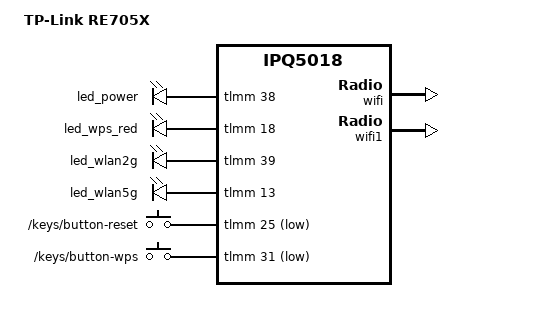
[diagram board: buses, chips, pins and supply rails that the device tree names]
// SPDX-License-Identifier: GPL-2.0-or-later OR MIT

/dts-v1/;

#include "ipq5018-re700x.dtsi"

/ {
	model = "TP-Link RE705X";
	compatible = "tplink,re705x", "qcom,ipq5018";
};

/*
 * The RE705X has 512 MB of RAM, so both radios can be enabled (the RE700X
 * keeps them disabled for its smaller memory). The QCN6122 runs on userpd3
 * with the firmware-default reset configuration, like the other IPQ5018 +
 * QCN6122 boards; the RE700X's userpd2 override is not used here.
 */
&wifi {
	status = "okay";
};

&wifi1 {
	status = "okay";

	qcom,rproc = <&q6_wcss_pd3>;
	qcom,userpd-subsys-name = "q6v5_wcss_userpd3";
};

&q6v5_wcss {
	/delete-property/ boot-args;
};

/* LED and button GPIOs confirmed on the RE705X by GPIO sweep. */
&led_power {
	gpios = <&tlmm 38 GPIO_ACTIVE_HIGH>;
};

&led_wps_red {
	gpios = <&tlmm 18 GPIO_ACTIVE_HIGH>;
};

&led_wlan2g {
	gpios = <&tlmm 39 GPIO_ACTIVE_HIGH>;
};

&led_wlan5g {
	gpios = <&tlmm 13 GPIO_ACTIVE_HIGH>;
};

&led_pins {
	pins = "gpio13", "gpio18", "gpio22", "gpio38", "gpio39";
};

&button_pins {
	pins = "gpio25", "gpio31";
};

&{/keys/button-reset} {
	gpios = <&tlmm 25 GPIO_ACTIVE_LOW>;
};

&{/keys/button-wps} {
	gpios = <&tlmm 31 GPIO_ACTIVE_LOW>;
};
